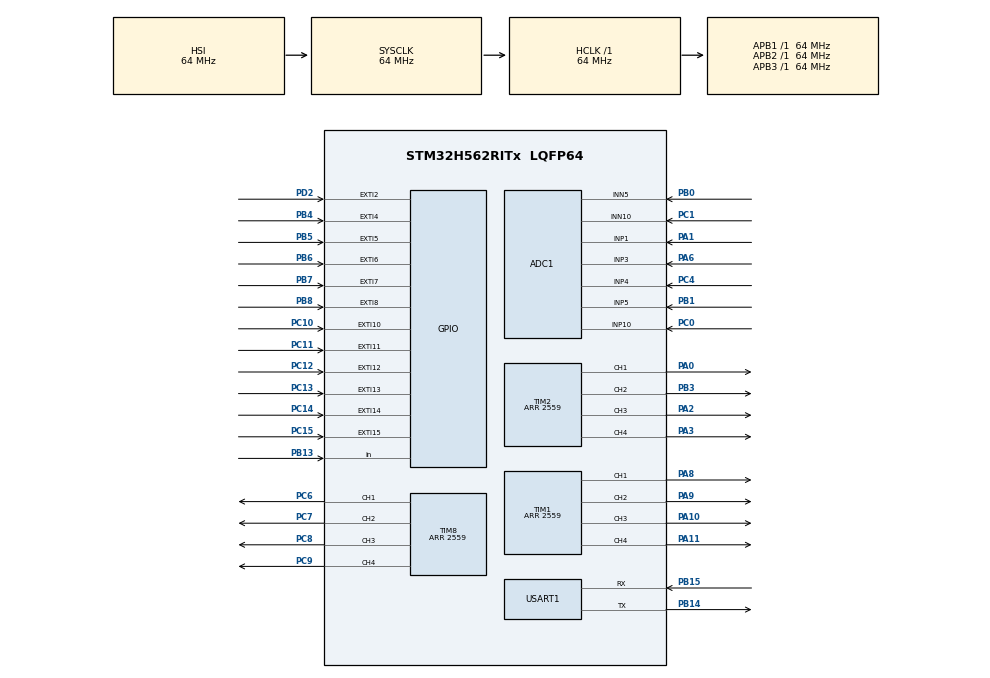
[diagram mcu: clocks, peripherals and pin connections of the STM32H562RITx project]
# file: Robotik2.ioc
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ADC1.Channel-0\#ChannelRegularConversion=ADC_CHANNEL_1
ADC1.MonitoredBy-0\#ChannelRegularConversion=__NULL
ADC1.NbrOfConversionFlag=1
ADC1.OffsetNumber-0\#ChannelRegularConversion=ADC_OFFSET_NONE
ADC1.Rank-0\#ChannelRegularConversion=1
ADC1.SamplingTime-0\#ChannelRegularConversion=ADC_SAMPLETIME_2CYCLES_5
ADC1.master=1
BOOTPATH.BootPathName=LEGACY
BOOTPATH.UserSelectedBootPath=LEGACY
CORTEX_M33_NS.userName=CORTEX_M33
Mcu.Family=STM32H5
Mcu.Name=STM32H562RITx
Mcu.Package=LQFP64
NVIC.EXTI10_IRQn=true\:0\:0\:false\:false\:true\:true\:true\:true
NVIC.EXTI11_IRQn=true\:0\:0\:false\:false\:true\:true\:true\:true
NVIC.EXTI12_IRQn=true\:0\:0\:false\:false\:true\:true\:true\:true
NVIC.EXTI13_IRQn=true\:0\:0\:false\:false\:true\:true\:true\:true
NVIC.EXTI14_IRQn=true\:0\:0\:false\:false\:true\:true\:true\:true
NVIC.EXTI15_IRQn=true\:0\:0\:false\:false\:true\:true\:true\:true
NVIC.EXTI2_IRQn=true\:0\:0\:false\:false\:true\:true\:true\:true
NVIC.EXTI4_IRQn=true\:0\:0\:false\:false\:true\:true\:true\:true
NVIC.EXTI5_IRQn=true\:0\:0\:false\:false\:true\:true\:true\:true
NVIC.EXTI6_IRQn=true\:0\:0\:false\:false\:true\:true\:true\:true
NVIC.EXTI7_IRQn=true\:0\:0\:false\:false\:true\:true\:true\:true
NVIC.EXTI8_IRQn=true\:0\:0\:false\:false\:true\:true\:true\:true
NVIC.PriorityGroup=NVIC_PRIORITYGROUP_4
PA0.Signal=S_TIM2_CH1
PA1.Signal=ADCx_INP1
PA10.Signal=S_TIM1_CH3
PA11.Signal=S_TIM1_CH4
PA2.Signal=S_TIM2_CH3
PA3.Signal=S_TIM2_CH4
PA6.Signal=ADCx_INP3
PA8.Signal=S_TIM1_CH1
PA9.Signal=S_TIM1_CH2
PB0.Signal=ADCx_INN5
PB1.Signal=ADCx_INP5
PB13.Signal=GPIO_Input
PB14.Mode=Asynchronous
PB14.Signal=USART1_TX
PB15.Mode=Asynchronous
PB15.Signal=USART1_RX
PB3(JTDO/TRACESWO).Signal=S_TIM2_CH2
PB4(NJTRST).Signal=GPXTI4
PB5.Signal=GPXTI5
PB6.Signal=GPXTI6
PB7.Signal=GPXTI7
PB8.Signal=GPXTI8
PC0.Signal=ADCx_INP10
PC1.Signal=ADCx_INN10
PC10.Signal=GPXTI10
PC11.Signal=GPXTI11
PC12.Signal=GPXTI12
PC13.Signal=GPXTI13
PC14-OSC32_IN(OSC32_IN).Signal=GPXTI14
PC15-OSC32_OUT(OSC32_OUT).Signal=GPXTI15
PC4.Signal=ADCx_INP4
PC6.Signal=S_TIM8_CH1
PC7.Signal=S_TIM8_CH2
PC8.Signal=S_TIM8_CH3
PC9.Signal=S_TIM8_CH4
PD2.Signal=GPXTI2
ProjectManager.HeapSize=0x200
ProjectManager.StackSize=0x400
ProjectManager.TargetToolchain=STM32CubeIDE
RCC.ADCFreq_Value=64000000
RCC.AHBFreq_Value=64000000
RCC.APB1Freq_Value=64000000
RCC.APB1TimFreq_Value=64000000
RCC.APB2Freq_Value=64000000
RCC.APB2TimFreq_Value=64000000
RCC.APB3Freq_Value=64000000
RCC.CSI_VALUE=4000000
RCC.CortexFreq_Value=64000000
RCC.EPOD_VALUE=4000000
RCC.HCLKFreq_Value=64000000
RCC.HSE_VALUE=25000000
RCC.HSI48_VALUE=48000000
RCC.HSIDiv=RCC_HSI_DIV1
RCC.HSI_VALUE=64000000
RCC.LSE_VALUE=32768
RCC.LSIRC_VALUE=32000
RCC.PLL1Q=3
RCC.PLLFRACN=0
RCC.PLLN=32
RCC.SYSCLKFreq_VALUE=64000000
RCC.USBFreq_Value=48000000
RCC.VCOOutputFreq_Value=128000000
SH.ADCx_INN10.0=ADC1_INN10,IN10-Differential
SH.ADCx_INN5.0=ADC1_INN5,IN5-Differential
SH.ADCx_INP1.0=ADC1_INP1,IN1-Single-Ended
SH.ADCx_INP10.0=ADC1_INP10,IN10-Differential
SH.ADCx_INP3.0=ADC1_INP3,IN3-Single-Ended
SH.ADCx_INP4.0=ADC1_INP4,IN4-Single-Ended
SH.ADCx_INP5.0=ADC1_INP5,IN5-Differential
SH.S_TIM1_CH1.0=TIM1_CH1,PWM Generation1 CH1
SH.S_TIM1_CH2.0=TIM1_CH2,PWM Generation2 CH2
SH.S_TIM1_CH3.0=TIM1_CH3,PWM Generation3 CH3
SH.S_TIM1_CH4.0=TIM1_CH4,PWM Generation4 CH4
SH.S_TIM2_CH1.0=TIM2_CH1,PWM Generation1 CH1
SH.S_TIM2_CH2.0=TIM2_CH2,PWM Generation2 CH2
SH.S_TIM2_CH3.0=TIM2_CH3,PWM Generation3 CH3
SH.S_TIM2_CH4.0=TIM2_CH4,PWM Generation4 CH4
SH.S_TIM8_CH1.0=TIM8_CH1,PWM Generation1 CH1
SH.S_TIM8_CH2.0=TIM8_CH2,PWM Generation2 CH2
SH.S_TIM8_CH3.0=TIM8_CH3,PWM Generation3 CH3
SH.S_TIM8_CH4.0=TIM8_CH4,PWM Generation4 CH4
TIM1.AutoReloadPreload=TIM_AUTORELOAD_PRELOAD_ENABLE
TIM1.Channel-PWM\ Generation1\ CH1=TIM_CHANNEL_1
TIM1.Channel-PWM\ Generation2\ CH2=TIM_CHANNEL_2
TIM1.Channel-PWM\ Generation3\ CH3=TIM_CHANNEL_3
TIM1.Channel-PWM\ Generation4\ CH4=TIM_CHANNEL_4
TIM1.PeriodNoDither=2559
TIM2.AutoReloadPreload=TIM_AUTORELOAD_PRELOAD_ENABLE
TIM2.Channel-PWM\ Generation1\ CH1=TIM_CHANNEL_1
TIM2.Channel-PWM\ Generation2\ CH2=TIM_CHANNEL_2
TIM2.Channel-PWM\ Generation3\ CH3=TIM_CHANNEL_3
TIM2.Channel-PWM\ Generation4\ CH4=TIM_CHANNEL_4
TIM2.PeriodNoDither=2559
TIM8.AutoReloadPreload=TIM_AUTORELOAD_PRELOAD_ENABLE
TIM8.Channel-PWM\ Generation1\ CH1=TIM_CHANNEL_1
TIM8.Channel-PWM\ Generation2\ CH2=TIM_CHANNEL_2
TIM8.Channel-PWM\ Generation3\ CH3=TIM_CHANNEL_3
TIM8.Channel-PWM\ Generation4\ CH4=TIM_CHANNEL_4
TIM8.PeriodNoDither=2559
USART1.VirtualMode-Asynchronous=VM_ASYNC
VP_BOOTPATH_VS_BOOTPATH.Mode=BP_Activate
VP_CORTEX_M33_NS_VS_Hclk.Mode=Hclk_Mode
VP_ICACHE_VS_ICACHE.Mode=DefaultMode
VP_MEMORYMAP_VS_MEMORYMAP.Mode=CurAppReg
VP_PWR_VS_LPOM.Mode=PowerOptimisation
VP_PWR_VS_SECSignals.Mode=Security/Privilege
VP_TIM1_VS_ClockSourceINT.Mode=Internal
VP_TIM2_VS_ClockSourceINT.Mode=Internal
VP_TIM8_VS_ClockSourceINT.Mode=Internal
board=custom

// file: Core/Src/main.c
/* USER CODE BEGIN Header */
/**
  ******************************************************************************
  * @file           : main.c
  * @brief          : Main program body
  ******************************************************************************
  * @attention
  *
  * Copyright (c) 2025 STMicroelectronics.
  * All rights reserved.
  *
  * This software is licensed under terms that can be found in the LICENSE file
  * in the root directory of this software component.
  * If no LICENSE file comes with this software, it is provided AS-IS.
  *
  ******************************************************************************
  */
/* USER CODE END Header */
#include "main.h"

/* USER CODE BEGIN Includes */

#include <stdio.h>
#include <stdlib.h>

/* USER CODE END Includes */

/* USER CODE BEGIN PD */

#define PWM_PERIOD_TICKS        2559U
#define PWM_MAX_DUTY_TICKS      PWM_PERIOD_TICKS
#define UART_HEARTBEAT_MS       1000U
#define ADC_CHANNEL_COUNT       5U
#define PI_UART_RX_BUFFER_SIZE  64U

/* USER CODE END PD */

ADC_HandleTypeDef hadc1;

TIM_HandleTypeDef htim1;
TIM_HandleTypeDef htim2;
TIM_HandleTypeDef htim8;

UART_HandleTypeDef huart1;

/* USER CODE BEGIN PV */

typedef struct
{
  TIM_HandleTypeDef *in1_timer;
  uint32_t in1_channel;
  TIM_HandleTypeDef *in2_timer;
  uint32_t in2_channel;
} MotorChannel_t;

typedef struct
{
  GPIO_TypeDef *a_port;
  uint16_t a_pin;
  GPIO_TypeDef *b_port;
  uint16_t b_pin;
  volatile int32_t count;
  uint8_t last_state;
} EncoderChannel_t;

static const MotorChannel_t motors[] =
{
  /* Motor 1: U500 A bridge, Motor_10/Motor_11 */
  { &htim2, TIM_CHANNEL_2, &htim1, TIM_CHANNEL_4 },
  /* Motor 2: U500 B bridge, Motor_20/Motor_21 */
  { &htim1, TIM_CHANNEL_2, &htim1, TIM_CHANNEL_3 },
  /* Motor 3: U501 A bridge, Motor_30/Motor_31 */
  { &htim1, TIM_CHANNEL_1, &htim8, TIM_CHANNEL_4 },
  /* Motor 4: U501 B bridge, Motor_40/Motor_41 */
  { &htim8, TIM_CHANNEL_2, &htim8, TIM_CHANNEL_3 },
  /* Motor 5: U502 A bridge, Motor_50/Motor_51 */
  { &htim8, TIM_CHANNEL_1, &htim2, TIM_CHANNEL_4 },
  /* Motor 6: U502 B bridge, Motor_60/Motor_61 */
  { &htim2, TIM_CHANNEL_3, &htim2, TIM_CHANNEL_1 },
};

static EncoderChannel_t encoders[] =
{
  /* Encoder 1: MotEnc_10/MotEnc_11 */
  { GPIOC, GPIO_PIN_14, GPIOC, GPIO_PIN_15, 0, 0U },
  /* Encoder 2: MotEnc_20/MotEnc_21 */
  { GPIOC, GPIO_PIN_13, GPIOB, GPIO_PIN_8, 0, 0U },
  /* Encoder 3: MotEnc_30/MotEnc_31 */
  { GPIOB, GPIO_PIN_6, GPIOB, GPIO_PIN_7, 0, 0U },
  /* Encoder 4: MotEnc_40/MotEnc_41 */
  { GPIOB, GPIO_PIN_5, GPIOB, GPIO_PIN_4, 0, 0U },
  /* Encoder 5: MotEnc_50/MotEnc_51 */
  { GPIOC, GPIO_PIN_12, GPIOD, GPIO_PIN_2, 0, 0U },
  /* Encoder 6: MotEnc_60/MotEnc_61 */
  { GPIOC, GPIO_PIN_11, GPIOC, GPIO_PIN_10, 0, 0U },
};

static int8_t motor_percent[6] = {0};

/* USER CODE END PV */

void SystemClock_Config(void);
static void MX_GPIO_Init(void);
static void MX_TIM1_Init(void);
static void MX_TIM2_Init(void);
static void MX_TIM8_Init(void);
static void MX_USART1_UART_Init(void);
static void MX_ADC1_Init(void);
static void MX_ICACHE_Init(void);
/* USER CODE BEGIN PFP */

static void StartAllPwmChannels(void);
static void Motor_SetSpeed(uint8_t motor_index, int16_t duty_ticks);
static void Motor_SetPercent(uint8_t motor_index, int8_t duty_percent);
static void Motor_CoastAll(void);
static void Encoder_InitStates(void);
static void Encoder_UpdateByPin(uint16_t gpio_pin);
static int32_t Encoder_GetCount(uint8_t encoder_index);
static uint16_t ADC_ReadChannel(uint32_t channel, uint32_t single_diff);
static void ADC_ReadAll(uint16_t adc_values[ADC_CHANNEL_COUNT]);
static void PiUart_ProcessCommand(char *command);
static void PiUart_Poll(void);

/* USER CODE END PFP */

/* USER CODE BEGIN 0 */

static void StartAllPwmChannels(void)
{
  __HAL_TIM_SET_COMPARE(&htim1, TIM_CHANNEL_1, 0U);
  __HAL_TIM_SET_COMPARE(&htim1, TIM_CHANNEL_2, 0U);
  __HAL_TIM_SET_COMPARE(&htim1, TIM_CHANNEL_3, 0U);
  __HAL_TIM_SET_COMPARE(&htim1, TIM_CHANNEL_4, 0U);

  __HAL_TIM_SET_COMPARE(&htim2, TIM_CHANNEL_1, 0U);
  __HAL_TIM_SET_COMPARE(&htim2, TIM_CHANNEL_2, 0U);
  __HAL_TIM_SET_COMPARE(&htim2, TIM_CHANNEL_3, 0U);
  __HAL_TIM_SET_COMPARE(&htim2, TIM_CHANNEL_4, 0U);

  __HAL_TIM_SET_COMPARE(&htim8, TIM_CHANNEL_1, 0U);
  __HAL_TIM_SET_COMPARE(&htim8, TIM_CHANNEL_2, 0U);
  __HAL_TIM_SET_COMPARE(&htim8, TIM_CHANNEL_3, 0U);
  __HAL_TIM_SET_COMPARE(&htim8, TIM_CHANNEL_4, 0U);

  HAL_TIM_PWM_Start(&htim1, TIM_CHANNEL_1);
  HAL_TIM_PWM_Start(&htim1, TIM_CHANNEL_2);
  HAL_TIM_PWM_Start(&htim1, TIM_CHANNEL_3);
  HAL_TIM_PWM_Start(&htim1, TIM_CHANNEL_4);

  HAL_TIM_PWM_Start(&htim2, TIM_CHANNEL_1);
  HAL_TIM_PWM_Start(&htim2, TIM_CHANNEL_2);
  HAL_TIM_PWM_Start(&htim2, TIM_CHANNEL_3);
  HAL_TIM_PWM_Start(&htim2, TIM_CHANNEL_4);

  HAL_TIM_PWM_Start(&htim8, TIM_CHANNEL_1);
  HAL_TIM_PWM_Start(&htim8, TIM_CHANNEL_2);
  HAL_TIM_PWM_Start(&htim8, TIM_CHANNEL_3);
  HAL_TIM_PWM_Start(&htim8, TIM_CHANNEL_4);
}

static void Motor_SetSpeed(uint8_t motor_index, int16_t duty_ticks)
{
  uint32_t duty;
  const MotorChannel_t *motor;

  if (motor_index >= (sizeof(motors) / sizeof(motors[0])))
  {
    return;
  }

  if (duty_ticks > (int16_t)PWM_MAX_DUTY_TICKS)
  {
    duty_ticks = (int16_t)PWM_MAX_DUTY_TICKS;
  }
  else if (duty_ticks < -(int16_t)PWM_MAX_DUTY_TICKS)
  {
    duty_ticks = -(int16_t)PWM_MAX_DUTY_TICKS;
  }

  motor = &motors[motor_index];
  duty = (duty_ticks < 0) ? (uint32_t)(-duty_ticks) : (uint32_t)duty_ticks;

  if (duty_ticks > 0)
  {
    __HAL_TIM_SET_COMPARE(motor->in1_timer, motor->in1_channel, duty);
    __HAL_TIM_SET_COMPARE(motor->in2_timer, motor->in2_channel, 0U);
  }
  else if (duty_ticks < 0)
  {
    __HAL_TIM_SET_COMPARE(motor->in1_timer, motor->in1_channel, 0U);
    __HAL_TIM_SET_COMPARE(motor->in2_timer, motor->in2_channel, duty);
  }
  else
  {
    __HAL_TIM_SET_COMPARE(motor->in1_timer, motor->in1_channel, 0U);
    __HAL_TIM_SET_COMPARE(motor->in2_timer, motor->in2_channel, 0U);
  }
}

static void Motor_SetPercent(uint8_t motor_index, int8_t duty_percent)
{
  int16_t duty_ticks;

  if (motor_index >= (sizeof(motors) / sizeof(motors[0])))
  {
    return;
  }

  if (duty_percent > 100)
  {
    duty_percent = 100;
  }
  else if (duty_percent < -100)
  {
    duty_percent = -100;
  }

  duty_ticks = (int16_t)(((int32_t)duty_percent * (int32_t)PWM_MAX_DUTY_TICKS) / 100);
  motor_percent[motor_index] = duty_percent;
  Motor_SetSpeed(motor_index, duty_ticks);
}

static void Motor_CoastAll(void)
{
  uint8_t motor_index;

  for (motor_index = 0U; motor_index < (sizeof(motors) / sizeof(motors[0])); motor_index++)
  {
    Motor_SetSpeed(motor_index, 0);
  }
}

static uint8_t Encoder_ReadState(const EncoderChannel_t *encoder)
{
  uint8_t state = 0U;

  if (HAL_GPIO_ReadPin(encoder->a_port, encoder->a_pin) == GPIO_PIN_SET)
  {
    state |= 0x02U;
  }
  if (HAL_GPIO_ReadPin(encoder->b_port, encoder->b_pin) == GPIO_PIN_SET)
  {
    state |= 0x01U;
  }

  return state;
}

static void Encoder_InitStates(void)
{
  uint8_t encoder_index;

  for (encoder_index = 0U; encoder_index < (sizeof(encoders) / sizeof(encoders[0])); encoder_index++)
  {
    encoders[encoder_index].last_state = Encoder_ReadState(&encoders[encoder_index]);
  }
}

static void Encoder_UpdateByPin(uint16_t gpio_pin)
{
  static const int8_t step_table[16] =
  {
     0, -1,  1,  0,
     1,  0,  0, -1,
    -1,  0,  0,  1,
     0,  1, -1,  0
  };
  uint8_t encoder_index;

  for (encoder_index = 0U; encoder_index < (sizeof(encoders) / sizeof(encoders[0])); encoder_index++)
  {
    EncoderChannel_t *encoder = &encoders[encoder_index];

    if ((encoder->a_pin == gpio_pin) || (encoder->b_pin == gpio_pin))
    {
      uint8_t new_state = Encoder_ReadState(encoder);
      uint8_t table_index = (uint8_t)((encoder->last_state << 2U) | new_state);

      encoder->count += step_table[table_index];
      encoder->last_state = new_state;
      return;
    }
  }
}

static int32_t Encoder_GetCount(uint8_t encoder_index)
{
  int32_t count = 0;

  if (encoder_index < (sizeof(encoders) / sizeof(encoders[0])))
  {
    __disable_irq();
    count = encoders[encoder_index].count;
    __enable_irq();
  }

  return count;
}

static uint16_t ADC_ReadChannel(uint32_t channel, uint32_t single_diff)
{
  ADC_ChannelConfTypeDef sConfig = {0};
  uint16_t value = 0U;

  sConfig.Channel = channel;
  sConfig.Rank = ADC_REGULAR_RANK_1;
  sConfig.SamplingTime = ADC_SAMPLETIME_2CYCLES_5;
  sConfig.SingleDiff = single_diff;
  sConfig.OffsetNumber = ADC_OFFSET_NONE;
  sConfig.Offset = 0;

  if (HAL_ADC_ConfigChannel(&hadc1, &sConfig) == HAL_OK)
  {
    if (HAL_ADC_Start(&hadc1) == HAL_OK)
    {
      if (HAL_ADC_PollForConversion(&hadc1, 2U) == HAL_OK)
      {
        value = (uint16_t)HAL_ADC_GetValue(&hadc1);
      }
      HAL_ADC_Stop(&hadc1);
    }
  }

  return value;
}

static void ADC_ReadAll(uint16_t adc_values[ADC_CHANNEL_COUNT])
{
  adc_values[0] = ADC_ReadChannel(ADC_CHANNEL_1, ADC_SINGLE_ENDED);        /* ADC_SE_1: PA1 */
  adc_values[1] = ADC_ReadChannel(ADC_CHANNEL_3, ADC_SINGLE_ENDED);        /* ADC_SE_2: PA6 */
  adc_values[2] = ADC_ReadChannel(ADC_CHANNEL_4, ADC_SINGLE_ENDED);        /* ADC_SE_3: PC4 */
  adc_values[3] = ADC_ReadChannel(ADC_CHANNEL_5, ADC_DIFFERENTIAL_ENDED);  /* ADC_Diff1: PB1/PB0 */
  adc_values[4] = ADC_ReadChannel(ADC_CHANNEL_10, ADC_DIFFERENTIAL_ENDED); /* ADC_Diff2: PC0/PC1 */
}

static void PiUart_ProcessCommand(char *command)
{
  uint8_t motor_index = 0U;
  char *cursor = command;

  if ((*cursor != 'M') && (*cursor != 'm'))
  {
    return;
  }
  cursor++;

  while ((motor_index < (sizeof(motors) / sizeof(motors[0]))) && (*cursor != '\0'))
  {
    long percent;

    while ((*cursor == ' ') || (*cursor == '\t') || (*cursor == ',') || (*cursor == ';'))
    {
      cursor++;
    }

    if (*cursor == '\0')
    {
      break;
    }

    percent = strtol(cursor, &cursor, 10);
    if (percent > 100L)
    {
      percent = 100L;
    }
    else if (percent < -100L)
    {
      percent = -100L;
    }

    Motor_SetPercent(motor_index, (int8_t)percent);
    motor_index++;
  }
}

static void PiUart_Poll(void)
{
  static char rx_buffer[PI_UART_RX_BUFFER_SIZE];
  static uint8_t rx_length = 0U;
  uint8_t rx_byte;

  while (HAL_UART_Receive(&huart1, &rx_byte, 1U, 0U) == HAL_OK)
  {
    if ((rx_byte == '\n') || (rx_byte == '\r'))
    {
      if (rx_length > 0U)
      {
        rx_buffer[rx_length] = '\0';
        PiUart_ProcessCommand(rx_buffer);
        rx_length = 0U;
      }
    }
    else if (rx_length < (PI_UART_RX_BUFFER_SIZE - 1U))
    {
      rx_buffer[rx_length] = (char)rx_byte;
      rx_length++;
    }
    else
    {
      rx_length = 0U;
    }
  }
}

/* USER CODE END 0 */

int main(void)
{

  /* MCU Configuration--------------------------------------------------------*/

  /* Reset of all peripherals, Initializes the Flash interface and the Systick. */
  HAL_Init();

  /* Configure the system clock */
  SystemClock_Config();

  /* Initialize all configured peripherals */
  MX_GPIO_Init();
  MX_TIM1_Init();
  MX_TIM2_Init();
  MX_TIM8_Init();
  MX_USART1_UART_Init();
  MX_ADC1_Init();
  MX_ICACHE_Init();
  /* USER CODE BEGIN 2 */
  uint32_t last_uart_tick = 0;
  const uint8_t boot_message[] = "STM32 booted, PWM active\r\n";

  if (PWM_MAX_DUTY_TICKS > PWM_PERIOD_TICKS)
  {
    Error_Handler();
  }

  StartAllPwmChannels();
  Motor_CoastAll();

  Encoder_InitStates();

  HAL_UART_Transmit(&huart1, boot_message, sizeof(boot_message) - 1U, HAL_MAX_DELAY);

  /* USER CODE END 2 */

  /* Infinite loop */
  while (1)
  {

    /* USER CODE BEGIN 3 */
    PiUart_Poll();
//	  Motor_SetPercent(5, 80);

    if ((HAL_GetTick() - last_uart_tick) >= UART_HEARTBEAT_MS)
    {
      char heartbeat_message[128];
      int heartbeat_length;
      uint16_t adc_values[ADC_CHANNEL_COUNT];
      int32_t encoder_counts[6];
      static int32_t last_encoder_counts[6] = {0};
      int32_t encoder_speed[6];
      uint8_t i;

      last_uart_tick = HAL_GetTick();
      ADC_ReadAll(adc_values);
      for (i = 0U; i < 6U; i++)
      {
        encoder_counts[i] = Encoder_GetCount(i);
        encoder_speed[i] = encoder_counts[i] - last_encoder_counts[i];
        last_encoder_counts[i] = encoder_counts[i];
      }
      heartbeat_length = snprintf(heartbeat_message, sizeof(heartbeat_message),
                                  "ENC %ld %ld %ld %ld %ld %ld SPD %ld %ld %ld %ld %ld %ld PWM %d %d %d %d %d %d ADC %u %u %u %u %u\r\n",
                                  (long)encoder_counts[0],
                                  (long)encoder_counts[1],
                                  (long)encoder_counts[2],
                                  (long)encoder_counts[3],
                                  (long)encoder_counts[4],
                                  (long)encoder_counts[5],
                                  (long)encoder_speed[0],
                                  (long)encoder_speed[1],
                                  (long)encoder_speed[2],
                                  (long)encoder_speed[3],
                                  (long)encoder_speed[4],
                                  (long)encoder_speed[5],
                                  motor_percent[0],
                                  motor_percent[1],
                                  motor_percent[2],
                                  motor_percent[3],
                                  motor_percent[4],
                                  motor_percent[5],
                                  adc_values[0],
                                  adc_values[1],
                                  adc_values[2],
                                  adc_values[3],
                                  adc_values[4]);
      if (heartbeat_length > 0)
      {
        HAL_UART_Transmit(&huart1, (uint8_t *)heartbeat_message, (uint16_t)heartbeat_length, HAL_MAX_DELAY);
      }
    }
  }
  /* USER CODE END 3 */
}

void SystemClock_Config(void)
{
  RCC_OscInitTypeDef RCC_OscInitStruct = {0};
  RCC_ClkInitTypeDef RCC_ClkInitStruct = {0};

  /** Configure the main internal regulator output voltage
  */
  __HAL_PWR_VOLTAGESCALING_CONFIG(PWR_REGULATOR_VOLTAGE_SCALE3);

  while(!__HAL_PWR_GET_FLAG(PWR_FLAG_VOSRDY)) {}

  /** Initializes the RCC Oscillators according to the specified parameters
  * in the RCC_OscInitTypeDef structure.
  */
  RCC_OscInitStruct.OscillatorType = RCC_OSCILLATORTYPE_HSI|RCC_OSCILLATORTYPE_CSI;
  RCC_OscInitStruct.HSIState = RCC_HSI_ON;
  RCC_OscInitStruct.HSIDiv = RCC_HSI_DIV1;
  RCC_OscInitStruct.HSICalibrationValue = RCC_HSICALIBRATION_DEFAULT;
  RCC_OscInitStruct.CSIState = RCC_CSI_ON;
  RCC_OscInitStruct.CSICalibrationValue = RCC_CSICALIBRATION_DEFAULT;
  RCC_OscInitStruct.PLL.PLLState = RCC_PLL_ON;
  RCC_OscInitStruct.PLL.PLLSource = RCC_PLL1_SOURCE_CSI;
  RCC_OscInitStruct.PLL.PLLM = 1;
  RCC_OscInitStruct.PLL.PLLN = 32;
  RCC_OscInitStruct.PLL.PLLP = 2;
  RCC_OscInitStruct.PLL.PLLQ = 3;
  RCC_OscInitStruct.PLL.PLLR = 2;
  RCC_OscInitStruct.PLL.PLLRGE = RCC_PLL1_VCIRANGE_2;
  RCC_OscInitStruct.PLL.PLLVCOSEL = RCC_PLL1_VCORANGE_WIDE;
  RCC_OscInitStruct.PLL.PLLFRACN = 0;
  if (HAL_RCC_OscConfig(&RCC_OscInitStruct) != HAL_OK)
  {
    Error_Handler();
  }

  /** Initializes the CPU, AHB and APB buses clocks
  */
  RCC_ClkInitStruct.ClockType = RCC_CLOCKTYPE_HCLK|RCC_CLOCKTYPE_SYSCLK
                              |RCC_CLOCKTYPE_PCLK1|RCC_CLOCKTYPE_PCLK2
                              |RCC_CLOCKTYPE_PCLK3;
  RCC_ClkInitStruct.SYSCLKSource = RCC_SYSCLKSOURCE_HSI;
  RCC_ClkInitStruct.AHBCLKDivider = RCC_SYSCLK_DIV1;
  RCC_ClkInitStruct.APB1CLKDivider = RCC_HCLK_DIV1;
  RCC_ClkInitStruct.APB2CLKDivider = RCC_HCLK_DIV1;
  RCC_ClkInitStruct.APB3CLKDivider = RCC_HCLK_DIV1;

  if (HAL_RCC_ClockConfig(&RCC_ClkInitStruct, FLASH_LATENCY_3) != HAL_OK)
  {
    Error_Handler();
  }

  /** Configure the programming delay
  */
  __HAL_FLASH_SET_PROGRAM_DELAY(FLASH_PROGRAMMING_DELAY_1);
}

static void MX_ADC1_Init(void)
{

  ADC_ChannelConfTypeDef sConfig = {0};

  /** Common config
  */
  hadc1.Instance = ADC1;
  hadc1.Init.ClockPrescaler = ADC_CLOCK_ASYNC_DIV1;
  hadc1.Init.Resolution = ADC_RESOLUTION_12B;
  hadc1.Init.DataAlign = ADC_DATAALIGN_RIGHT;
  hadc1.Init.ScanConvMode = ADC_SCAN_DISABLE;
  hadc1.Init.EOCSelection = ADC_EOC_SINGLE_CONV;
  hadc1.Init.LowPowerAutoWait = DISABLE;
  hadc1.Init.ContinuousConvMode = DISABLE;
  hadc1.Init.NbrOfConversion = 1;
  hadc1.Init.DiscontinuousConvMode = DISABLE;
  hadc1.Init.ExternalTrigConv = ADC_SOFTWARE_START;
  hadc1.Init.ExternalTrigConvEdge = ADC_EXTERNALTRIGCONVEDGE_NONE;
  hadc1.Init.DMAContinuousRequests = DISABLE;
  hadc1.Init.SamplingMode = ADC_SAMPLING_MODE_NORMAL;
  hadc1.Init.Overrun = ADC_OVR_DATA_PRESERVED;
  hadc1.Init.OversamplingMode = DISABLE;
  if (HAL_ADC_Init(&hadc1) != HAL_OK)
  {
    Error_Handler();
  }

  /** Configure Regular Channel
  */
  sConfig.Channel = ADC_CHANNEL_1;
  sConfig.Rank = ADC_REGULAR_RANK_1;
  sConfig.SamplingTime = ADC_SAMPLETIME_2CYCLES_5;
  sConfig.SingleDiff = ADC_SINGLE_ENDED;
  sConfig.OffsetNumber = ADC_OFFSET_NONE;
  sConfig.Offset = 0;
  if (HAL_ADC_ConfigChannel(&hadc1, &sConfig) != HAL_OK)
  {
    Error_Handler();
  }

}

static void MX_ICACHE_Init(void)
{

  /** Enable instruction cache (default 2-ways set associative cache)
  */
  if (HAL_ICACHE_Enable() != HAL_OK)
  {
    Error_Handler();
  }

}

static void MX_TIM1_Init(void)
{

  TIM_ClockConfigTypeDef sClockSourceConfig = {0};
  TIM_MasterConfigTypeDef sMasterConfig = {0};
  TIM_OC_InitTypeDef sConfigOC = {0};
  TIM_BreakDeadTimeConfigTypeDef sBreakDeadTimeConfig = {0};

  htim1.Instance = TIM1;
  htim1.Init.Prescaler = 0;
  htim1.Init.CounterMode = TIM_COUNTERMODE_UP;
  htim1.Init.Period = 2559;
  htim1.Init.ClockDivision = TIM_CLOCKDIVISION_DIV1;
  htim1.Init.RepetitionCounter = 0;
  htim1.Init.AutoReloadPreload = TIM_AUTORELOAD_PRELOAD_ENABLE;
  if (HAL_TIM_Base_Init(&htim1) != HAL_OK)
  {
    Error_Handler();
  }
  sClockSourceConfig.ClockSource = TIM_CLOCKSOURCE_INTERNAL;
  if (HAL_TIM_ConfigClockSource(&htim1, &sClockSourceConfig) != HAL_OK)
  {
    Error_Handler();
  }
  if (HAL_TIM_PWM_Init(&htim1) != HAL_OK)
  {
    Error_Handler();
  }
  sMasterConfig.MasterOutputTrigger = TIM_TRGO_RESET;
  sMasterConfig.MasterOutputTrigger2 = TIM_TRGO2_RESET;
  sMasterConfig.MasterSlaveMode = TIM_MASTERSLAVEMODE_DISABLE;
  if (HAL_TIMEx_MasterConfigSynchronization(&htim1, &sMasterConfig) != HAL_OK)
  {
    Error_Handler();
  }
  sConfigOC.OCMode = TIM_OCMODE_PWM1;
  sConfigOC.Pulse = 0;
  sConfigOC.OCPolarity = TIM_OCPOLARITY_HIGH;
  sConfigOC.OCNPolarity = TIM_OCNPOLARITY_HIGH;
  sConfigOC.OCFastMode = TIM_OCFAST_DISABLE;
  sConfigOC.OCIdleState = TIM_OCIDLESTATE_RESET;
  sConfigOC.OCNIdleState = TIM_OCNIDLESTATE_RESET;
  if (HAL_TIM_PWM_ConfigChannel(&htim1, &sConfigOC, TIM_CHANNEL_1) != HAL_OK)
  {
    Error_Handler();
  }
  if (HAL_TIM_PWM_ConfigChannel(&htim1, &sConfigOC, TIM_CHANNEL_2) != HAL_OK)
  {
    Error_Handler();
  }
  if (HAL_TIM_PWM_ConfigChannel(&htim1, &sConfigOC, TIM_CHANNEL_3) != HAL_OK)
  {
    Error_Handler();
  }
  if (HAL_TIM_PWM_ConfigChannel(&htim1, &sConfigOC, TIM_CHANNEL_4) != HAL_OK)
  {
    Error_Handler();
  }
  sBreakDeadTimeConfig.OffStateRunMode = TIM_OSSR_DISABLE;
  sBreakDeadTimeConfig.OffStateIDLEMode = TIM_OSSI_DISABLE;
  sBreakDeadTimeConfig.LockLevel = TIM_LOCKLEVEL_OFF;
  sBreakDeadTimeConfig.DeadTime = 0;
  sBreakDeadTimeConfig.BreakState = TIM_BREAK_DISABLE;
  sBreakDeadTimeConfig.BreakPolarity = TIM_BREAKPOLARITY_HIGH;
  sBreakDeadTimeConfig.BreakFilter = 0;
  sBreakDeadTimeConfig.BreakAFMode = TIM_BREAK_AFMODE_INPUT;
  sBreakDeadTimeConfig.Break2State = TIM_BREAK2_DISABLE;
  sBreakDeadTimeConfig.Break2Polarity = TIM_BREAK2POLARITY_HIGH;
  sBreakDeadTimeConfig.Break2Filter = 0;
  sBreakDeadTimeConfig.Break2AFMode = TIM_BREAK_AFMODE_INPUT;
  sBreakDeadTimeConfig.AutomaticOutput = TIM_AUTOMATICOUTPUT_DISABLE;
  if (HAL_TIMEx_ConfigBreakDeadTime(&htim1, &sBreakDeadTimeConfig) != HAL_OK)
  {
    Error_Handler();
  }
  HAL_TIM_MspPostInit(&htim1);

}

static void MX_TIM2_Init(void)
{

  TIM_ClockConfigTypeDef sClockSourceConfig = {0};
  TIM_MasterConfigTypeDef sMasterConfig = {0};
  TIM_OC_InitTypeDef sConfigOC = {0};

  htim2.Instance = TIM2;
  htim2.Init.Prescaler = 0;
  htim2.Init.CounterMode = TIM_COUNTERMODE_UP;
  htim2.Init.Period = 2559;
  htim2.Init.ClockDivision = TIM_CLOCKDIVISION_DIV1;
  htim2.Init.AutoReloadPreload = TIM_AUTORELOAD_PRELOAD_ENABLE;
  if (HAL_TIM_Base_Init(&htim2) != HAL_OK)
  {
    Error_Handler();
  }
  sClockSourceConfig.ClockSource = TIM_CLOCKSOURCE_INTERNAL;
  if (HAL_TIM_ConfigClockSource(&htim2, &sClockSourceConfig) != HAL_OK)
  {
    Error_Handler();
  }
  if (HAL_TIM_PWM_Init(&htim2) != HAL_OK)
  {
    Error_Handler();
  }
  sMasterConfig.MasterOutputTrigger = TIM_TRGO_RESET;
  sMasterConfig.MasterSlaveMode = TIM_MASTERSLAVEMODE_DISABLE;
  if (HAL_TIMEx_MasterConfigSynchronization(&htim2, &sMasterConfig) != HAL_OK)
  {
    Error_Handler();
  }
  sConfigOC.OCMode = TIM_OCMODE_PWM1;
  sConfigOC.Pulse = 0;
  sConfigOC.OCPolarity = TIM_OCPOLARITY_HIGH;
  sConfigOC.OCFastMode = TIM_OCFAST_DISABLE;
  if (HAL_TIM_PWM_ConfigChannel(&htim2, &sConfigOC, TIM_CHANNEL_1) != HAL_OK)
  {
    Error_Handler();
  }
  if (HAL_TIM_PWM_ConfigChannel(&htim2, &sConfigOC, TIM_CHANNEL_2) != HAL_OK)
  {
    Error_Handler();
  }
  if (HAL_TIM_PWM_ConfigChannel(&htim2, &sConfigOC, TIM_CHANNEL_3) != HAL_OK)
  {
    Error_Handler();
  }
  if (HAL_TIM_PWM_ConfigChannel(&htim2, &sConfigOC, TIM_CHANNEL_4) != HAL_OK)
  {
    Error_Handler();
  }
  HAL_TIM_MspPostInit(&htim2);

}

static void MX_TIM8_Init(void)
{

  TIM_ClockConfigTypeDef sClockSourceConfig = {0};
  TIM_MasterConfigTypeDef sMasterConfig = {0};
  TIM_OC_InitTypeDef sConfigOC = {0};
  TIM_BreakDeadTimeConfigTypeDef sBreakDeadTimeConfig = {0};

  htim8.Instance = TIM8;
  htim8.Init.Prescaler = 0;
  htim8.Init.CounterMode = TIM_COUNTERMODE_UP;
  htim8.Init.Period = 2559;
  htim8.Init.ClockDivision = TIM_CLOCKDIVISION_DIV1;
  htim8.Init.RepetitionCounter = 0;
  htim8.Init.AutoReloadPreload = TIM_AUTORELOAD_PRELOAD_ENABLE;
  if (HAL_TIM_Base_Init(&htim8) != HAL_OK)
  {
    Error_Handler();
  }
  sClockSourceConfig.ClockSource = TIM_CLOCKSOURCE_INTERNAL;
  if (HAL_TIM_ConfigClockSource(&htim8, &sClockSourceConfig) != HAL_OK)
  {
    Error_Handler();
  }
  if (HAL_TIM_PWM_Init(&htim8) != HAL_OK)
  {
    Error_Handler();
  }
  sMasterConfig.MasterOutputTrigger = TIM_TRGO_RESET;
  sMasterConfig.MasterOutputTrigger2 = TIM_TRGO2_RESET;
  sMasterConfig.MasterSlaveMode = TIM_MASTERSLAVEMODE_DISABLE;
  if (HAL_TIMEx_MasterConfigSynchronization(&htim8, &sMasterConfig) != HAL_OK)
  {
    Error_Handler();
  }
  sConfigOC.OCMode = TIM_OCMODE_PWM1;
  sConfigOC.Pulse = 0;
  sConfigOC.OCPolarity = TIM_OCPOLARITY_HIGH;
  sConfigOC.OCNPolarity = TIM_OCNPOLARITY_HIGH;
  sConfigOC.OCFastMode = TIM_OCFAST_DISABLE;
  sConfigOC.OCIdleState = TIM_OCIDLESTATE_RESET;
  sConfigOC.OCNIdleState = TIM_OCNIDLESTATE_RESET;
  if (HAL_TIM_PWM_ConfigChannel(&htim8, &sConfigOC, TIM_CHANNEL_1) != HAL_OK)
  {
    Error_Handler();
  }
  if (HAL_TIM_PWM_ConfigChannel(&htim8, &sConfigOC, TIM_CHANNEL_2) != HAL_OK)
  {
    Error_Handler();
  }
  if (HAL_TIM_PWM_ConfigChannel(&htim8, &sConfigOC, TIM_CHANNEL_3) != HAL_OK)
  {
    Error_Handler();
  }
  if (HAL_TIM_PWM_ConfigChannel(&htim8, &sConfigOC, TIM_CHANNEL_4) != HAL_OK)
  {
    Error_Handler();
  }
  sBreakDeadTimeConfig.OffStateRunMode = TIM_OSSR_DISABLE;
  sBreakDeadTimeConfig.OffStateIDLEMode = TIM_OSSI_DISABLE;
  sBreakDeadTimeConfig.LockLevel = TIM_LOCKLEVEL_OFF;
  sBreakDeadTimeConfig.DeadTime = 0;
  sBreakDeadTimeConfig.BreakState = TIM_BREAK_DISABLE;
  sBreakDeadTimeConfig.BreakPolarity = TIM_BREAKPOLARITY_HIGH;
  sBreakDeadTimeConfig.BreakFilter = 0;
  sBreakDeadTimeConfig.BreakAFMode = TIM_BREAK_AFMODE_INPUT;
  sBreakDeadTimeConfig.Break2State = TIM_BREAK2_DISABLE;
  sBreakDeadTimeConfig.Break2Polarity = TIM_BREAK2POLARITY_HIGH;
  sBreakDeadTimeConfig.Break2Filter = 0;
  sBreakDeadTimeConfig.Break2AFMode = TIM_BREAK_AFMODE_INPUT;
  sBreakDeadTimeConfig.AutomaticOutput = TIM_AUTOMATICOUTPUT_DISABLE;
  if (HAL_TIMEx_ConfigBreakDeadTime(&htim8, &sBreakDeadTimeConfig) != HAL_OK)
  {
    Error_Handler();
  }
  HAL_TIM_MspPostInit(&htim8);

}

static void MX_USART1_UART_Init(void)
{

  huart1.Instance = USART1;
  huart1.Init.BaudRate = 38400;
  huart1.Init.WordLength = UART_WORDLENGTH_8B;
  huart1.Init.StopBits = UART_STOPBITS_1;
  huart1.Init.Parity = UART_PARITY_NONE;
  huart1.Init.Mode = UART_MODE_TX_RX;
  huart1.Init.HwFlowCtl = UART_HWCONTROL_NONE;
  huart1.Init.OverSampling = UART_OVERSAMPLING_16;
  huart1.Init.OneBitSampling = UART_ONE_BIT_SAMPLE_DISABLE;
  huart1.Init.ClockPrescaler = UART_PRESCALER_DIV1;
  huart1.AdvancedInit.AdvFeatureInit = UART_ADVFEATURE_NO_INIT;
  if (HAL_UART_Init(&huart1) != HAL_OK)
  {
    Error_Handler();
  }
  if (HAL_UARTEx_SetTxFifoThreshold(&huart1, UART_TXFIFO_THRESHOLD_1_8) != HAL_OK)
  {
    Error_Handler();
  }
  if (HAL_UARTEx_SetRxFifoThreshold(&huart1, UART_RXFIFO_THRESHOLD_1_8) != HAL_OK)
  {
    Error_Handler();
  }
  if (HAL_UARTEx_DisableFifoMode(&huart1) != HAL_OK)
  {
    Error_Handler();
  }

}

static void MX_GPIO_Init(void)
{
  GPIO_InitTypeDef GPIO_InitStruct = {0};

  /* GPIO Ports Clock Enable */
  __HAL_RCC_GPIOC_CLK_ENABLE();
  __HAL_RCC_GPIOA_CLK_ENABLE();
  __HAL_RCC_GPIOB_CLK_ENABLE();
  __HAL_RCC_GPIOD_CLK_ENABLE();

  /*Configure GPIO pins : PC13 PC14 PC15 PC10
                           PC11 PC12 */
  GPIO_InitStruct.Pin = GPIO_PIN_13|GPIO_PIN_14|GPIO_PIN_15|GPIO_PIN_10
                          |GPIO_PIN_11|GPIO_PIN_12;
  GPIO_InitStruct.Mode = GPIO_MODE_IT_RISING_FALLING;
  GPIO_InitStruct.Pull = GPIO_NOPULL;
  HAL_GPIO_Init(GPIOC, &GPIO_InitStruct);

  /*Configure GPIO pin : PB13 */
  GPIO_InitStruct.Pin = GPIO_PIN_13;
  GPIO_InitStruct.Mode = GPIO_MODE_INPUT;
  GPIO_InitStruct.Pull = GPIO_NOPULL;
  HAL_GPIO_Init(GPIOB, &GPIO_InitStruct);

  /*Configure GPIO pin : PD2 */
  GPIO_InitStruct.Pin = GPIO_PIN_2;
  GPIO_InitStruct.Mode = GPIO_MODE_IT_RISING_FALLING;
  GPIO_InitStruct.Pull = GPIO_NOPULL;
  HAL_GPIO_Init(GPIOD, &GPIO_InitStruct);

  /*Configure GPIO pins : PB4 PB5 PB6 PB7
                           PB8 */
  GPIO_InitStruct.Pin = GPIO_PIN_4|GPIO_PIN_5|GPIO_PIN_6|GPIO_PIN_7
                          |GPIO_PIN_8;
  GPIO_InitStruct.Mode = GPIO_MODE_IT_RISING_FALLING;
  GPIO_InitStruct.Pull = GPIO_NOPULL;
  HAL_GPIO_Init(GPIOB, &GPIO_InitStruct);

  /* EXTI interrupt init*/
  HAL_NVIC_SetPriority(EXTI2_IRQn, 0, 0);
  HAL_NVIC_EnableIRQ(EXTI2_IRQn);

  HAL_NVIC_SetPriority(EXTI4_IRQn, 0, 0);
  HAL_NVIC_EnableIRQ(EXTI4_IRQn);

  HAL_NVIC_SetPriority(EXTI5_IRQn, 0, 0);
  HAL_NVIC_EnableIRQ(EXTI5_IRQn);

  HAL_NVIC_SetPriority(EXTI6_IRQn, 0, 0);
  HAL_NVIC_EnableIRQ(EXTI6_IRQn);

  HAL_NVIC_SetPriority(EXTI7_IRQn, 0, 0);
  HAL_NVIC_EnableIRQ(EXTI7_IRQn);

  HAL_NVIC_SetPriority(EXTI8_IRQn, 0, 0);
  HAL_NVIC_EnableIRQ(EXTI8_IRQn);

  HAL_NVIC_SetPriority(EXTI10_IRQn, 0, 0);
  HAL_NVIC_EnableIRQ(EXTI10_IRQn);

  HAL_NVIC_SetPriority(EXTI11_IRQn, 0, 0);
  HAL_NVIC_EnableIRQ(EXTI11_IRQn);

  HAL_NVIC_SetPriority(EXTI12_IRQn, 0, 0);
  HAL_NVIC_EnableIRQ(EXTI12_IRQn);

  HAL_NVIC_SetPriority(EXTI13_IRQn, 0, 0);
  HAL_NVIC_EnableIRQ(EXTI13_IRQn);

  HAL_NVIC_SetPriority(EXTI14_IRQn, 0, 0);
  HAL_NVIC_EnableIRQ(EXTI14_IRQn);

  HAL_NVIC_SetPriority(EXTI15_IRQn, 0, 0);
  HAL_NVIC_EnableIRQ(EXTI15_IRQn);

}

/* USER CODE BEGIN 4 */

void HAL_GPIO_EXTI_Rising_Callback(uint16_t GPIO_Pin)
{
  Encoder_UpdateByPin(GPIO_Pin);
}

void HAL_GPIO_EXTI_Falling_Callback(uint16_t GPIO_Pin)
{
  Encoder_UpdateByPin(GPIO_Pin);
}

/* USER CODE END 4 */

void Error_Handler(void)
{
  __disable_irq();
  while (1)
  {
  }
}
